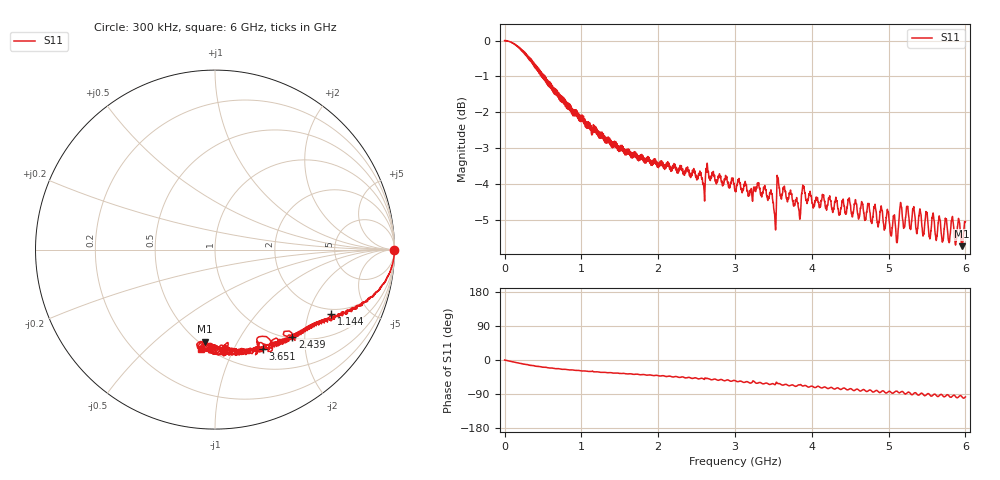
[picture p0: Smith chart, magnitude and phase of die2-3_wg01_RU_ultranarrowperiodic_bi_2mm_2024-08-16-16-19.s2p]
!Keysight Technologies,P9374A,MY57304198,A.17.20.09
!Date: Friday, August 16, 2024 16:19:10
!Correction: S11(C  1-Port  )
!S21(C  1-Port  )
!S12(Off)
!S22(Off)
!S2P File: Measurements: S11, S21, S12, S22:
# Hz S  dB  R 50
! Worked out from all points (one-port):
!   6000 points, 300 kHz to 6 GHz, reference 50 ohm
!   lowest |S11| = -5.7 dB at 5.953 GHz (marker M1), VSWR 3.13, Z = 26.5 - j37.1 ohm
!   |S11| at or under -10 dB: nowhere
!   S11 on the Smith chart (normalised r, x): 300 kHz: open; 1.144 GHz: 1.77, -2.84; 2.439 GHz: 1.04, -1.73; 3.651 GHz: 0.73, -1.31; 6 GHz: 0.47, -0.76
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300000  -0.00 -0.0  -200.00 45.0  -200.00 45.0  -200.00 45.0
1.723201e8  -0.18 -7.9  -200.00 45.0  -200.00 45.0  -200.00 45.0
4.103478e8  -0.69 -16.1  -200.00 45.0  -200.00 45.0  -200.00 45.0
1.000417e9  -2.24 -28.8  -200.00 45.0  -200.00 45.0  -200.00 45.0
1.144433e9  -2.60 -29.1  -200.00 45.0  -200.00 45.0  -200.00 45.0
2.000533e9  -3.53 -41.2  -200.00 45.0  -200.00 45.0  -200.00 45.0
2.438584e9  -3.77 -48.4  -200.00 45.0  -200.00 45.0  -200.00 45.0
3.00065e9  -4.20 -54.4  -200.00 45.0  -200.00 45.0  -200.00 45.0
3.378694e9  -4.13 -62.5  -200.00 45.0  -200.00 45.0  -200.00 45.0
3.51471e9  -4.81 -65.1  -200.00 45.0  -200.00 45.0  -200.00 45.0
3.562716e9  -3.84 -62.5  -200.00 45.0  -200.00 45.0  -200.00 45.0
3.650726e9  -4.20 -64.3  -200.00 45.0  -200.00 45.0  -200.00 45.0
3.785742e9  -4.47 -69.7  -200.00 45.0  -200.00 45.0  -200.00 45.0
3.834747e9  -4.74 -66.0  -200.00 45.0  -200.00 45.0  -200.00 45.0
3.891754e9  -4.11 -68.2  -200.00 45.0  -200.00 45.0  -200.00 45.0
4.000767e9  -4.49 -68.8  -200.00 45.0  -200.00 45.0  -200.00 45.0
5.000883e9  -4.87 -83.0  -200.00 45.0  -200.00 45.0  -200.00 45.0
5.107896e9  -5.61 -82.4  -200.00 45.0  -200.00 45.0  -200.00 45.0
5.157902e9  -4.55 -84.8  -200.00 45.0  -200.00 45.0  -200.00 45.0
5.322921e9  -4.68 -89.3  -200.00 45.0  -200.00 45.0  -200.00 45.0
5.952995e9  -5.74 -96.5  -200.00 45.0  -200.00 45.0  -200.00 45.0
6e9  -5.06 -97.4  -200.00 45.0  -200.00 45.0  -200.00 45.0
